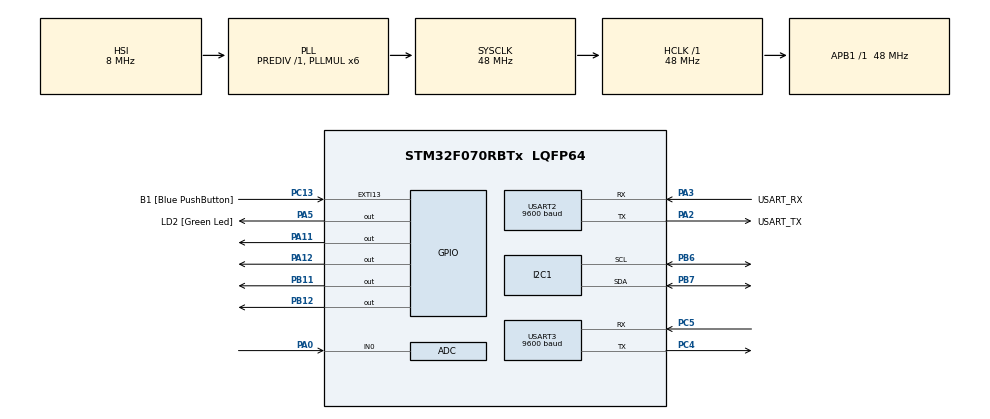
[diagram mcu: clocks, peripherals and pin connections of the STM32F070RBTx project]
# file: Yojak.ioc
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Dma.ADC.0.Direction=DMA_PERIPH_TO_MEMORY
Dma.ADC.0.Instance=DMA1_Channel1
Dma.ADC.0.MemDataAlignment=DMA_MDATAALIGN_WORD
Dma.ADC.0.MemInc=DMA_MINC_ENABLE
Dma.ADC.0.Mode=DMA_NORMAL
Dma.ADC.0.PeriphDataAlignment=DMA_PDATAALIGN_WORD
Dma.ADC.0.PeriphInc=DMA_PINC_DISABLE
Dma.ADC.0.Priority=DMA_PRIORITY_LOW
Dma.Request0=ADC
Mcu.Family=STM32F0
Mcu.Name=STM32F070RBTx
Mcu.Package=LQFP64
NVIC.ADC1_IRQn=true\:0\:0\:false\:false\:true\:true\:true\:true
NVIC.DMA1_Channel1_IRQn=true\:0\:0\:false\:false\:true\:false\:true\:true
NVIC.EXTI4_15_IRQn=true\:0\:0\:false\:false\:true\:true\:true\:true
NVIC.TIM16_IRQn=true\:0\:0\:false\:false\:true\:true\:true\:true
NVIC.USART3_4_IRQn=true\:0\:0\:false\:false\:true\:true\:true\:true
PA0.Mode=IN0
PA0.Signal=ADC_IN0
PA11.Signal=GPIO_Output
PA12.Signal=GPIO_Output
PA13.GPIO_Label=TMS
PA13.Mode=Serial_Wire
PA13.Signal=SYS_SWDIO
PA14.GPIO_Label=TCK
PA14.Mode=Serial_Wire
PA14.Signal=SYS_SWCLK
PA2.GPIO_Label=USART_TX
PA2.Mode=Asynchronous
PA2.Signal=USART2_TX
PA3.GPIO_Label=USART_RX
PA3.Mode=Asynchronous
PA3.Signal=USART2_RX
PA5.GPIO_Label=LD2 [Green Led]
PA5.Signal=GPIO_Output
PB11.Signal=GPIO_Output
PB12.Signal=GPIO_Output
PB6.Mode=I2C
PB6.Signal=I2C1_SCL
PB7.Mode=I2C
PB7.Signal=I2C1_SDA
PC13.GPIO_Label=B1 [Blue PushButton]
PC13.GPIO_ModeDefaultEXTI=GPIO_MODE_IT_FALLING
PC13.Signal=GPXTI13
PC14-OSC32_IN.GPIO_Label=RCC_OSC32_IN
PC14-OSC32_IN.Mode=LSE-External-Oscillator
PC14-OSC32_IN.Signal=RCC_OSC32_IN
PC15-OSC32_OUT.GPIO_Label=RCC_OSC32_OUT
PC15-OSC32_OUT.Mode=LSE-External-Oscillator
PC15-OSC32_OUT.Signal=RCC_OSC32_OUT
PC4.Mode=Asynchronous
PC4.Signal=USART3_TX
PC5.Mode=Asynchronous
PC5.Signal=USART3_RX
PF0-OSC_IN.GPIO_Label=RCC_OSC_IN
PF0-OSC_IN.Mode=HSE-External-Oscillator
PF0-OSC_IN.Signal=RCC_OSC_IN
PF1-OSC_OUT.GPIO_Label=RCC_OSC_OUT
PF1-OSC_OUT.Mode=HSE-External-Oscillator
PF1-OSC_OUT.Signal=RCC_OSC_OUT
ProjectManager.HeapSize=0x200
ProjectManager.StackSize=0x400
ProjectManager.TargetToolchain=STM32CubeIDE
RCC.AHBFreq_Value=48000000
RCC.APB1Freq_Value=48000000
RCC.APB1TimFreq_Value=48000000
RCC.HCLKFreq_Value=48000000
RCC.PLLMUL=RCC_PLL_MUL6
RCC.SYSCLKFreq_VALUE=48000000
RCC.SYSCLKSource=RCC_SYSCLKSOURCE_PLLCLK
TIM16.Period=1000-1
TIM16.Prescaler=48000-1
USART2.BaudRate=9600
USART2.VirtualMode-Asynchronous=VM_ASYNC
USART3.BaudRate=9600
USART3.VirtualMode-Asynchronous=VM_ASYNC
VP_TIM16_VS_ClockSourceINT.Mode=Enable_Timer
board=NUCLEO-F070RB

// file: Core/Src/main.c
/* USER CODE BEGIN Header */
/**
  ******************************************************************************
  * @file           : main.c
  * @brief          : Main program body
  ******************************************************************************
  * @attention
  *
  * Copyright (c) 2022 STMicroelectronics.
  * All rights reserved.
  *
  * This software is licensed under terms that can be found in the LICENSE file
  * in the root directory of this software component.
  * If no LICENSE file comes with this software, it is provided AS-IS.
  *
  ******************************************************************************
  */
/* USER CODE END Header */
#include "main.h"

/* USER CODE BEGIN Includes */
#include <stdio.h>
/* USER CODE END Includes */

/* USER CODE BEGIN PD */

#define wheelDrop1_duration 500

#define pillDrop_MAX_duration 5

// out of 4096-1
#define LDR_threshold 2048

/* USER CODE END PD */

ADC_HandleTypeDef hadc;
DMA_HandleTypeDef hdma_adc;

I2C_HandleTypeDef hi2c1;

TIM_HandleTypeDef htim16;

UART_HandleTypeDef huart2;
UART_HandleTypeDef huart3;

void SystemClock_Config(void);
static void MX_GPIO_Init(void);
static void MX_DMA_Init(void);
static void MX_USART2_UART_Init(void);
static void MX_ADC_Init(void);
static void MX_TIM16_Init(void);
static void MX_I2C1_Init(void);
static void MX_USART3_UART_Init(void);

/* USER CODE BEGIN 0 */

// RTC
uint8_t buffer[15] = "skjsjdsks";
char tem[15];
uint8_t mytx[15] = "Yojak";
uint8_t myrx[15] = "1234509678";

// temporary
float adcAvg = 4095.0;
float adcAvgFactor = 0.3;

uint8_t medCounter = 0;
int medDropStatus = 0;

// Drop Pill

uint32_t AdcBuffer = 0;

int tim16Overflown = 0;		// flag to indicate timer 16 has overflown in past.
int tim16Available = 1;		// do not access timer till it is available (binary semaphore)

int dropFlagBtn = 0;

int pc = 0;

int checkADC = 0;
// RTC
uint8_t decToBcd(int val)
{
	return (uint8_t)((val/10)*16)+(val%10);
}

uint8_t bcdToDec(int val)
{

	return (uint8_t)((val/16)*10)+(val%16);
}

void swapp()
{
	for(int i=0; i<15; ++i)
	{
		buffer[i] = tem[i];
	}
}

// Drop Pill
struct Cassette {
	uint8_t cassetteID;

	// Control Pins
	GPIO_TypeDef* wheelControlPort;
	uint16_t wheelControlPins[2];	// [0] = Forward;	[1] = Reverse

	GPIO_TypeDef* trayControlPort;
	uint16_t trayControlPins[2];	// [0] = Open Tray;	[1] = Rewind Pills

//	uint16_t ldrADCPin;				// Pin for ADC dma input
	uint32_t *ldrADC;				// Stores the Address of variable storing ADC DMA from LDR

	// Timing details
  // spit struct
	uint8_t Mor[3];
	uint8_t Aft[3];
	uint8_t Eve[3];

 // int (*dropPills)(uint8_t numberOfPills);

};

  // Setting up cassette 1
 struct Cassette cass1;

void spitstring(struct Cassette *cassette,uint8_t *st)
{
	cassette->Mor[0] = st[0]-'0';
	cassette->Aft[0] = st[5]-'0';
	cassette->Eve[0] = st[10]-'0';

	cassette->Mor[1] = (st[1]-'0')*10+(st[2]-'0');
	cassette->Aft[1] = (st[6]-'0')*10+(st[7]-'0');
	cassette->Eve[1] = (st[11]-'0')*10+(st[12]-'0');

	cassette->Mor[2] = (st[3]-'0')*10+(st[4]-'0');
	cassette->Aft[2] = (st[8]-'0')*10+(st[9]-'0');
	cassette->Eve[2] = (st[13]-'0')*10+(st[14]-'0');
}

int dropPills(struct Cassette *cassette, uint8_t numberOfPills){

  // wait for pill drop using ADC polling from DMA for dynamic comparing
  uint8_t alreadyBlocked = 0;
  uint8_t errorCounts = 0;	// exit procedure when it exceeds 3 attempts.

  while(medCounter < numberOfPills){
    // Spin Wheel Forward
    HAL_GPIO_WritePin(cassette->wheelControlPort, (cassette -> wheelControlPins)[0], 0);
    HAL_Delay(wheelDrop1_duration);
    HAL_GPIO_WritePin(cassette->wheelControlPort, (cassette -> wheelControlPins)[0], 1);
    int i = 0;

    while(i < 200){    // 2 sec
      if(checkADC){
        checkADC = 0;
        if(!alreadyBlocked){  // Just started blocking
          alreadyBlocked = 1;
          medCounter++;
        }

      }else{
        if(alreadyBlocked){   // blocked no more
          alreadyBlocked = 0;
          i = 0;
        }
      }

      i++;
      HAL_Delay(10);  // 10 ms
    }
		// checking block states and med counter

		if(medCounter > numberOfPills){		// dropped more then needed.
			// return them back to chamber by rewinding tray.
			HAL_GPIO_WritePin(cassette->trayControlPort, cassette->trayControlPins[1], 0);
			HAL_Delay(2000);
			HAL_GPIO_WritePin(cassette->trayControlPort, cassette->trayControlPins[1], 1);

			// reset to medcounter to start from scratch.
			medCounter = 0;
			errorCounts++;
			if(errorCounts > 3){
				return -1;		// unable to drop equal to specified.
			}
		}
  }

		if(alreadyBlocked){		// the pill is stuck in chamber
			return -1;
		}

    // Only if successful
		// Open Tray & close
		HAL_GPIO_WritePin(cassette->trayControlPort, cassette->trayControlPins[0], 0);
		HAL_Delay(1000);
		HAL_GPIO_WritePin(cassette->trayControlPort, cassette->trayControlPins[0], 1);

    medCounter = 0;
		return 0; // 0 = Success
}
void HAL_ADC_ConvCpltCallback(ADC_HandleTypeDef* hadc)
{
	//ADC pin is PA0 (A0 on STM32 board)
	//give GND to PA0 and observe ~0 counts, Apply 3.3V and observe ~4096 counts, MAKE SURE THAT YOU DON'T APPLY 5V to any pin

	adcAvg = adcAvgFactor*AdcBuffer + (1-adcAvgFactor)*adcAvg;

  if(adcAvg < 3000){
    checkADC = 1;

  }
   HAL_ADC_Start_DMA(hadc,&AdcBuffer,1);

}

void HAL_TIM_PeriodElapsedCallback(TIM_HandleTypeDef * htim){
	if(htim==&htim16){
		HAL_GPIO_TogglePin(GPIOA, GPIO_PIN_5);
		tim16Overflown = 1;
	}
}

void HAL_GPIO_EXTI_Callback (uint16_t GPIO_Pin){
	if(GPIO_Pin == GPIO_PIN_13){
		//HAL_GPIO_TogglePin(GPIOA, GPIO_PIN_5);
		//HAL_Delay(200);
		dropFlagBtn = 1;
	}
}

typedef struct {
	uint8_t seconds;
	uint8_t minutes;
	uint8_t hour;
	uint8_t dayofweek;
	uint8_t dayofmonth;
	uint8_t month;
	uint8_t year;

}Time;

Time time1;

void Set_Time(uint8_t sec, uint8_t min, uint8_t hour, uint8_t dow, uint8_t dom, uint8_t month, uint8_t year)
{
	uint8_t set_time[7];
	set_time[0] = decToBcd(sec);
	set_time[1] = decToBcd(min);
	set_time[2] = decToBcd(hour);
	set_time[3] = decToBcd(dow);
	set_time[4] = decToBcd(dom);
	set_time[5] = decToBcd(month);
	set_time[6] = decToBcd(year);

	HAL_I2C_Mem_Write(&hi2c1, 0xD0, 0x00, 1, set_time, 7, 1000);
}

void Get_Time(void)
{
	uint8_t get_time[7];
	HAL_I2C_Mem_Read(&hi2c1, 0xD0, 0x00, 1, get_time, 7, 1000);
	time1.seconds = bcdToDec(get_time[0]);
	time1.minutes = bcdToDec(get_time[1]);
	time1.hour = bcdToDec(get_time[2]);
	time1.dayofweek = bcdToDec(get_time[3]);
	time1.dayofmonth = bcdToDec(get_time[4]);
	time1.month = bcdToDec(get_time[5]);
	time1.year = bcdToDec(get_time[6]);
}

void HAL_UART_RxCpltCallback(UART_HandleTypeDef *huart)
{
	HAL_UART_Transmit(&huart2,myrx,sizeof(myrx),10);
	HAL_GPIO_TogglePin(GPIOA,GPIO_PIN_5);
	spitstring(&cass1,myrx);

}

/* USER CODE END 0 */

int main(void)
{

  /* MCU Configuration--------------------------------------------------------*/

  /* Reset of all peripherals, Initializes the Flash interface and the Systick. */
  HAL_Init();

  /* Configure the system clock */
  SystemClock_Config();

  /* Initialize all configured peripherals */
  MX_GPIO_Init();
  MX_DMA_Init();
  MX_USART2_UART_Init();
  MX_ADC_Init();
  MX_TIM16_Init();
  MX_I2C1_Init();
  MX_USART3_UART_Init();
  /* USER CODE BEGIN 2 */
	HAL_ADC_Start_DMA(&hadc,&AdcBuffer,1);

  // RTC
  		//Set_Time(uint8_t sec, uint8_t min, uint8_t hour, uint8_t dow, uint8_t dom, uint8_t month, uint8_t year)
	 //Set_Time(0,11,18,1,5,11,22);
		int check = 1;

  // Drop Pill
	// setting pins high
	HAL_GPIO_WritePin(GPIOA, GPIO_PIN_11, 1);
	HAL_GPIO_WritePin(GPIOA, GPIO_PIN_12, 1);
	HAL_GPIO_WritePin(GPIOB, GPIO_PIN_11, 1);
	HAL_GPIO_WritePin(GPIOB, GPIO_PIN_12, 1);

  cass1.cassetteID = 0;

  cass1.wheelControlPort = GPIOA;
  cass1.wheelControlPins[0] = GPIO_PIN_11;
  cass1.wheelControlPins[1] = GPIO_PIN_12;

  cass1.trayControlPort = GPIOB;
  cass1.trayControlPins[0] = GPIO_PIN_11;
  cass1.trayControlPins[1] = GPIO_PIN_12;

  cass1.ldrADC = &AdcBuffer;

  /* USER CODE END 2 */

  /* Infinite loop */
  /* USER CODE BEGIN WHILE */
  while (1)
  {

    // RTC
    Get_Time();
		sprintf(tem, "%02d:%02d:%02d\n", time1.hour, time1.minutes, time1.seconds);
		swapp();
		HAL_UART_Transmit(&huart2,buffer,15,10);
		HAL_UART_Receive_IT(&huart3,myrx,10);

		if(time1.hour==cass1.Mor[1] &&  time1.minutes==cass1.Mor[2] && check)
		{
				uint8_t tt[10] = "hahahahaha";
			 HAL_UART_Transmit(&huart2,tt,10,10);
			medDropStatus = dropPills(&cass1,cass1.Mor[0]);
			check = 0;

		}

		if(time1.minutes!=cass1.Mor[2])
		{
				check = 1;
		}

		HAL_Delay(1000);

    // // Drop Pill

		//HAL_GPIO_TogglePin(GPIOA, GPIO_PIN_5);
			HAL_Delay(1);
		 if(dropFlagBtn == 1){

		 	HAL_GPIO_TogglePin(GPIOA, GPIO_PIN_5);
		 	HAL_Delay(200);

		// HAL_GPIO_TogglePin(GPIOA, GPIO_PIN_12);

		 	dropPills(&cass1, 1);
		  // HAL_GPIO_TogglePin(GPIOA, GPIO_PIN_5);
		   dropFlagBtn = 0;
	   }
		// 		 		  dropFlagBtn = dropFlagBtn;

    /* USER CODE END WHILE */

  }
}

void SystemClock_Config(void)
{
  RCC_OscInitTypeDef RCC_OscInitStruct = {0};
  RCC_ClkInitTypeDef RCC_ClkInitStruct = {0};
  RCC_PeriphCLKInitTypeDef PeriphClkInit = {0};

  /** Initializes the RCC Oscillators according to the specified parameters
  * in the RCC_OscInitTypeDef structure.
  */
  RCC_OscInitStruct.OscillatorType = RCC_OSCILLATORTYPE_HSI|RCC_OSCILLATORTYPE_HSI14;
  RCC_OscInitStruct.HSIState = RCC_HSI_ON;
  RCC_OscInitStruct.HSI14State = RCC_HSI14_ON;
  RCC_OscInitStruct.HSICalibrationValue = RCC_HSICALIBRATION_DEFAULT;
  RCC_OscInitStruct.HSI14CalibrationValue = 16;
  RCC_OscInitStruct.PLL.PLLState = RCC_PLL_ON;
  RCC_OscInitStruct.PLL.PLLSource = RCC_PLLSOURCE_HSI;
  RCC_OscInitStruct.PLL.PLLMUL = RCC_PLL_MUL6;
  RCC_OscInitStruct.PLL.PREDIV = RCC_PREDIV_DIV1;
  if (HAL_RCC_OscConfig(&RCC_OscInitStruct) != HAL_OK)
  {
    Error_Handler();
  }

  /** Initializes the CPU, AHB and APB buses clocks
  */
  RCC_ClkInitStruct.ClockType = RCC_CLOCKTYPE_HCLK|RCC_CLOCKTYPE_SYSCLK
                              |RCC_CLOCKTYPE_PCLK1;
  RCC_ClkInitStruct.SYSCLKSource = RCC_SYSCLKSOURCE_PLLCLK;
  RCC_ClkInitStruct.AHBCLKDivider = RCC_SYSCLK_DIV1;
  RCC_ClkInitStruct.APB1CLKDivider = RCC_HCLK_DIV1;

  if (HAL_RCC_ClockConfig(&RCC_ClkInitStruct, FLASH_LATENCY_1) != HAL_OK)
  {
    Error_Handler();
  }
  PeriphClkInit.PeriphClockSelection = RCC_PERIPHCLK_I2C1;
  PeriphClkInit.I2c1ClockSelection = RCC_I2C1CLKSOURCE_HSI;
  if (HAL_RCCEx_PeriphCLKConfig(&PeriphClkInit) != HAL_OK)
  {
    Error_Handler();
  }
}

static void MX_ADC_Init(void)
{

  ADC_ChannelConfTypeDef sConfig = {0};

  /** Configure the global features of the ADC (Clock, Resolution, Data Alignment and number of conversion)
  */
  hadc.Instance = ADC1;
  hadc.Init.ClockPrescaler = ADC_CLOCK_ASYNC_DIV1;
  hadc.Init.Resolution = ADC_RESOLUTION_12B;
  hadc.Init.DataAlign = ADC_DATAALIGN_RIGHT;
  hadc.Init.ScanConvMode = ADC_SCAN_DIRECTION_FORWARD;
  hadc.Init.EOCSelection = ADC_EOC_SINGLE_CONV;
  hadc.Init.LowPowerAutoWait = DISABLE;
  hadc.Init.LowPowerAutoPowerOff = DISABLE;
  hadc.Init.ContinuousConvMode = DISABLE;
  hadc.Init.DiscontinuousConvMode = DISABLE;
  hadc.Init.ExternalTrigConv = ADC_SOFTWARE_START;
  hadc.Init.ExternalTrigConvEdge = ADC_EXTERNALTRIGCONVEDGE_NONE;
  hadc.Init.DMAContinuousRequests = DISABLE;
  hadc.Init.Overrun = ADC_OVR_DATA_PRESERVED;
  if (HAL_ADC_Init(&hadc) != HAL_OK)
  {
    Error_Handler();
  }

  /** Configure for the selected ADC regular channel to be converted.
  */
  sConfig.Channel = ADC_CHANNEL_0;
  sConfig.Rank = ADC_RANK_CHANNEL_NUMBER;
  sConfig.SamplingTime = ADC_SAMPLETIME_1CYCLE_5;
  if (HAL_ADC_ConfigChannel(&hadc, &sConfig) != HAL_OK)
  {
    Error_Handler();
  }

}

static void MX_I2C1_Init(void)
{

  hi2c1.Instance = I2C1;
  hi2c1.Init.Timing = 0x2000090E;
  hi2c1.Init.OwnAddress1 = 0;
  hi2c1.Init.AddressingMode = I2C_ADDRESSINGMODE_7BIT;
  hi2c1.Init.DualAddressMode = I2C_DUALADDRESS_DISABLE;
  hi2c1.Init.OwnAddress2 = 0;
  hi2c1.Init.OwnAddress2Masks = I2C_OA2_NOMASK;
  hi2c1.Init.GeneralCallMode = I2C_GENERALCALL_DISABLE;
  hi2c1.Init.NoStretchMode = I2C_NOSTRETCH_DISABLE;
  if (HAL_I2C_Init(&hi2c1) != HAL_OK)
  {
    Error_Handler();
  }

  /** Configure Analogue filter
  */
  if (HAL_I2CEx_ConfigAnalogFilter(&hi2c1, I2C_ANALOGFILTER_ENABLE) != HAL_OK)
  {
    Error_Handler();
  }

  /** Configure Digital filter
  */
  if (HAL_I2CEx_ConfigDigitalFilter(&hi2c1, 0) != HAL_OK)
  {
    Error_Handler();
  }

}

static void MX_TIM16_Init(void)
{

  htim16.Instance = TIM16;
  htim16.Init.Prescaler = 48000-1;
  htim16.Init.CounterMode = TIM_COUNTERMODE_UP;
  htim16.Init.Period = 1000-1;
  htim16.Init.ClockDivision = TIM_CLOCKDIVISION_DIV1;
  htim16.Init.RepetitionCounter = 0;
  htim16.Init.AutoReloadPreload = TIM_AUTORELOAD_PRELOAD_DISABLE;
  if (HAL_TIM_Base_Init(&htim16) != HAL_OK)
  {
    Error_Handler();
  }

}

static void MX_USART2_UART_Init(void)
{

  huart2.Instance = USART2;
  huart2.Init.BaudRate = 9600;
  huart2.Init.WordLength = UART_WORDLENGTH_8B;
  huart2.Init.StopBits = UART_STOPBITS_1;
  huart2.Init.Parity = UART_PARITY_NONE;
  huart2.Init.Mode = UART_MODE_TX_RX;
  huart2.Init.HwFlowCtl = UART_HWCONTROL_NONE;
  huart2.Init.OverSampling = UART_OVERSAMPLING_16;
  huart2.Init.OneBitSampling = UART_ONE_BIT_SAMPLE_DISABLE;
  huart2.AdvancedInit.AdvFeatureInit = UART_ADVFEATURE_NO_INIT;
  if (HAL_UART_Init(&huart2) != HAL_OK)
  {
    Error_Handler();
  }

}

static void MX_USART3_UART_Init(void)
{

  huart3.Instance = USART3;
  huart3.Init.BaudRate = 9600;
  huart3.Init.WordLength = UART_WORDLENGTH_8B;
  huart3.Init.StopBits = UART_STOPBITS_1;
  huart3.Init.Parity = UART_PARITY_NONE;
  huart3.Init.Mode = UART_MODE_TX_RX;
  huart3.Init.HwFlowCtl = UART_HWCONTROL_NONE;
  huart3.Init.OverSampling = UART_OVERSAMPLING_16;
  huart3.Init.OneBitSampling = UART_ONE_BIT_SAMPLE_DISABLE;
  huart3.AdvancedInit.AdvFeatureInit = UART_ADVFEATURE_NO_INIT;
  if (HAL_UART_Init(&huart3) != HAL_OK)
  {
    Error_Handler();
  }

}

static void MX_DMA_Init(void)
{

  /* DMA controller clock enable */
  __HAL_RCC_DMA1_CLK_ENABLE();

  /* DMA interrupt init */
  /* DMA1_Channel1_IRQn interrupt configuration */
  HAL_NVIC_SetPriority(DMA1_Channel1_IRQn, 0, 0);
  HAL_NVIC_EnableIRQ(DMA1_Channel1_IRQn);

}

static void MX_GPIO_Init(void)
{
  GPIO_InitTypeDef GPIO_InitStruct = {0};

  /* GPIO Ports Clock Enable */
  __HAL_RCC_GPIOC_CLK_ENABLE();
  __HAL_RCC_GPIOF_CLK_ENABLE();
  __HAL_RCC_GPIOA_CLK_ENABLE();
  __HAL_RCC_GPIOB_CLK_ENABLE();

  /*Configure GPIO pin Output Level */
  HAL_GPIO_WritePin(GPIOA, LD2_Pin|GPIO_PIN_11|GPIO_PIN_12, GPIO_PIN_RESET);

  /*Configure GPIO pin Output Level */
  HAL_GPIO_WritePin(GPIOB, GPIO_PIN_11|GPIO_PIN_12, GPIO_PIN_RESET);

  /*Configure GPIO pin : B1_Pin */
  GPIO_InitStruct.Pin = B1_Pin;
  GPIO_InitStruct.Mode = GPIO_MODE_IT_FALLING;
  GPIO_InitStruct.Pull = GPIO_NOPULL;
  HAL_GPIO_Init(B1_GPIO_Port, &GPIO_InitStruct);

  /*Configure GPIO pins : LD2_Pin PA11 PA12 */
  GPIO_InitStruct.Pin = LD2_Pin|GPIO_PIN_11|GPIO_PIN_12;
  GPIO_InitStruct.Mode = GPIO_MODE_OUTPUT_PP;
  GPIO_InitStruct.Pull = GPIO_NOPULL;
  GPIO_InitStruct.Speed = GPIO_SPEED_FREQ_LOW;
  HAL_GPIO_Init(GPIOA, &GPIO_InitStruct);

  /*Configure GPIO pins : PB11 PB12 */
  GPIO_InitStruct.Pin = GPIO_PIN_11|GPIO_PIN_12;
  GPIO_InitStruct.Mode = GPIO_MODE_OUTPUT_PP;
  GPIO_InitStruct.Pull = GPIO_NOPULL;
  GPIO_InitStruct.Speed = GPIO_SPEED_FREQ_LOW;
  HAL_GPIO_Init(GPIOB, &GPIO_InitStruct);

  /* EXTI interrupt init*/
  HAL_NVIC_SetPriority(EXTI4_15_IRQn, 0, 0);
  HAL_NVIC_EnableIRQ(EXTI4_15_IRQn);

}

void Error_Handler(void)
{
  __disable_irq();
  while (1)
  {
  }
}
